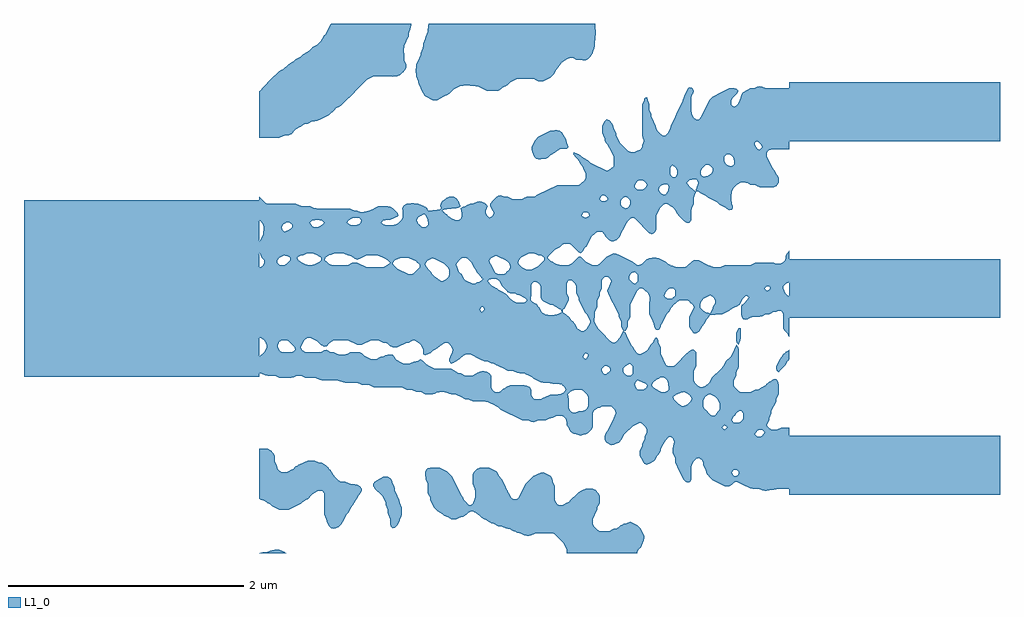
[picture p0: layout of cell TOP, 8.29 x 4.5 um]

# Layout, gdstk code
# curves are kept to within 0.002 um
import gdstk
lib = gdstk.Library(unit=1e-6, precision=1e-09)
def R(c, l, rs):  # rectangles x0, y0, x1, y1
    for r in rs: c.add(gdstk.rectangle(r[:2], r[2:], *l))
def A(c, l, x, y, w, h, nx, ny, dx, dy):  # array of equal rectangles
    R(c, l, [(x+i*dx, y+j*dy, x+i*dx+w, y+j*dy+h) for i in range(nx) for j in range(ny)])
def P(c, l, *ps):  # polygons
    for p in ps: c.add(gdstk.Polygon(p, *l))
L1_0 = (1, 0)

top = lib.new_cell('TOP')
A(top, L1_0, 6672.808, 876.15, 1.79, 0.5, 1, 3, 0, 1.5)
R(top, L1_0, [(6666.308,877.15,6668.308,878.65)])
P(top, L1_0, [(6668.308,875.65),(6668.338,875.658),(6668.359,875.66),(6668.418,875.678),(6668.438,875.679),(6668.478,875.679),(6668.498,875.673),(6668.518,875.663),(6668.535,875.65)],
  [(6669.438,875.865),(6669.424,875.88),(6669.419,875.9),(6669.419,875.94),(6669.401,875.98),(6669.399,876.02),(6669.381,876.06),(6669.379,876.08),(6669.349,876.14),(6669.289,876.2),(6669.274,876.22),(6669.274,876.24),(6669.298,876.269),(6669.358,876.299),(6669.398,876.299),(6669.418,876.289),(6669.427,876.28),(6669.451,876.22),(6669.457,876.2),(6669.458,876.18),(6669.497,876.1),(6669.498,876.08),(6669.517,876.04),(6669.517,875.98),(6669.501,875.94),(6669.497,875.92),(6669.487,875.9),(6669.458,875.867)],
  [(6672.598,876.182),(6672.578,876.186),(6672.538,876.201),(6672.478,876.203),(6672.359,876.26),(6672.338,876.25),(6672.318,876.231),(6672.298,876.221),(6672.258,876.221),(6672.158,876.271),(6672.111,876.32),(6672.101,876.34),(6672.098,876.361),(6672.358,876.361),(6672.338,876.36),(6672.318,876.34),(6672.327,876.32),(6672.338,876.309),(6672.358,876.305),(6672.373,876.32),(6672.378,876.342),(6672.358,876.361),(6672.098,876.361),(6672.079,876.4),(6672.079,876.42),(6672.069,876.44),(6672.058,876.451),(6672.038,876.461),(6672.018,876.452),(6672.006,876.44),(6671.988,876.42),(6671.978,876.4),(6671.977,876.28),(6671.966,876.26),(6671.958,876.253),(6671.938,876.253),(6671.909,876.28),(6671.841,876.42),(6671.839,876.46),(6671.819,876.5),(6671.821,876.56),(6671.833,876.6),(6671.818,876.628),(6671.798,876.641),(6671.778,876.631),(6671.75,876.6),(6671.718,876.54),(6671.715,876.52),(6671.705,876.5),(6671.687,876.48),(6671.667,876.44),(6671.658,876.431),(6671.598,876.402),(6671.578,876.412),(6671.57,876.42),(6671.539,876.48),(6671.539,876.52),(6671.558,876.56),(6671.559,876.58),(6671.579,876.62),(6671.579,876.64),(6671.599,876.68),(6671.599,876.7),(6671.589,876.72),(6671.568,876.741),(6672.258,876.741),(6672.237,876.72),(6672.258,876.7),(6672.558,876.701),(6672.538,876.691),(6672.527,876.68),(6672.517,876.66),(6672.538,876.639),(6672.558,876.639),(6672.578,876.649),(6672.588,876.66),(6672.598,876.681),(6672.578,876.701),(6672.26,876.701),(6672.28,876.72),(6672.258,876.741),(6671.568,876.741),(6671.558,876.751),(6671.538,876.761),(6671.478,876.731),(6671.407,876.66),(6671.387,876.62),(6671.358,876.591),(6671.318,876.573),(6671.298,876.568),(6671.278,876.576),(6671.258,876.591),(6671.249,876.6),(6671.239,876.62),(6671.239,876.64),(6671.245,876.66),(6671.269,876.7),(6671.319,876.8),(6671.334,876.84),(6671.329,876.86),(6671.317,876.88),(6671.298,876.899),(6671.218,876.899),(6671.158,876.871),(6671.147,876.86),(6671.137,876.84),(6671.137,876.72),(6671.127,876.7),(6671.098,876.671),(6671.078,876.661),(6671.038,876.651),(6670.978,876.667),(6670.955,876.68),(6670.938,876.703),(6670.919,876.74),(6670.915,876.78),(6670.905,876.8),(6670.898,876.808),(6670.878,876.82),(6670.838,876.82),(6670.798,876.801),(6670.778,876.8),(6670.738,876.781),(6670.678,876.779),(6670.638,876.765),(6670.598,876.778),(6670.538,876.781),(6670.358,876.871),(6670.338,876.89),(6670.238,876.94),(6670.118,876.941),(6670.078,876.961),(6670.058,876.961),(6669.978,876.999),(6669.918,877.004),(6669.878,877.021),(6669.838,877.021),(6669.818,877.017),(6669.778,877.001),(6669.718,877.001),(6669.678,877.021),(6669.638,877.021),(6669.598,877.041),(6669.558,877.041),(6669.518,877.061),(6669.278,877.061),(6669.238,877.081),(6669.178,877.081),(6669.138,877.101),(6669.018,877.102),(6668.978,877.118),(6668.958,877.121),(6668.818,877.123),(6668.778,877.141),(6668.698,877.141),(6668.658,877.158),(6668.638,877.16),(6668.618,877.156),(6668.578,877.141),(6668.478,877.141),(6668.438,877.161),(6668.358,877.162),(6668.318,877.181),(6668.308,877.181),(6668.308,877.319),(6668.349,877.36),(6668.369,877.4),(6668.372,877.42),(6668.348,877.461),(6668.498,877.461),(6668.478,877.448),(6668.462,877.42),(6668.464,877.4),(6668.475,877.38),(6668.498,877.36),(6668.578,877.359),(6668.598,877.367),(6668.61,877.38),(6668.608,877.4),(6668.558,877.451),(6668.538,877.461),(6668.348,877.461),(6668.338,877.471),(6668.318,877.481),(6668.718,877.481),(6668.698,877.471),(6668.687,877.46),(6668.657,877.4),(6668.667,877.38),(6668.678,877.37),(6668.698,877.36),(6668.818,877.359),(6668.878,877.38),(6668.918,877.359),(6668.938,877.359),(6668.978,877.339),(6669.038,877.339),(6669.078,877.357),(6669.158,877.359),(6669.178,877.349),(6669.198,877.329),(6669.258,877.299),(6669.298,877.299),(6669.338,877.319),(6669.358,877.321),(6669.398,877.339),(6669.418,877.339),(6669.438,877.336),(6669.478,877.289),(6669.538,877.26),(6669.578,877.259),(6669.618,877.279),(6669.638,877.279),(6669.678,877.298),(6669.698,877.283),(6669.72,877.26),(6669.738,877.248),(6669.798,877.219),(6669.938,877.218),(6669.998,877.181),(6670.018,877.179),(6670.058,877.159),(6670.118,877.16),(6670.178,877.195),(6670.198,877.199),(6670.218,877.199),(6670.238,877.194),(6670.258,877.182),(6670.275,877.16),(6670.277,877.06),(6670.287,877.04),(6670.298,877.029),(6670.318,877.019),(6670.338,877.019),(6670.358,877.029),(6670.378,877.049),(6670.438,877.079),(6670.558,877.079),(6670.578,877.075),(6670.605,877.06),(6670.617,877.04),(6670.618,876.998),(6670.624,876.98),(6670.638,876.965),(6670.658,876.959),(6670.678,876.959),(6670.698,876.96),(6670.778,876.999),(6670.838,876.999),(6670.858,877.002),(6670.898,877.022),(6670.909,877.041),(6670.998,877.041),(6670.978,877.037),(6670.945,877.02),(6670.927,877),(6670.936,876.96),(6670.937,876.88),(6670.949,876.86),(6670.958,876.853),(6670.978,876.846),(6671.018,876.858),(6671.058,876.859),(6671.078,876.869),(6671.089,876.88),(6671.099,876.9),(6671.099,876.98),(6671.089,877),(6671.058,877.031),(6671.038,877.041),(6670.909,877.041),(6670.898,877.066),(6670.878,877.082),(6670.838,877.093),(6670.798,877.089),(6670.76,877.1),(6670.698,877.102),(6670.664,877.119),(6671.518,877.119),(6671.498,877.1),(6671.497,877.08),(6671.504,877.06),(6671.518,877.046),(6671.538,877.039),(6671.558,877.039),(6671.578,877.046),(6671.597,877.06),(6671.601,877.08),(6671.598,877.083),(6671.578,877.098),(6671.558,877.102),(6671.518,877.119),(6670.664,877.119),(6670.638,877.132),(6670.624,877.146),(6671.738,877.146),(6671.718,877.145),(6671.673,877.12),(6671.65,877.1),(6671.64,877.08),(6671.658,877.056),(6671.718,877.023),(6671.738,877.019),(6671.918,877.021),(6671.898,877.019),(6671.838,876.995),(6671.824,876.98),(6671.829,876.96),(6671.878,876.911),(6671.898,876.901),(6671.918,876.902),(6671.938,876.912),(6671.969,876.94),(6671.979,876.96),(6671.973,876.98),(6671.952,877.001),(6672.138,877.001),(6672.118,876.999),(6672.098,876.985),(6672.083,876.96),(6672.077,876.94),(6672.078,876.9),(6672.088,876.88),(6672.138,876.829),(6672.158,876.819),(6672.178,876.825),(6672.208,876.861),(6672.398,876.861),(6672.378,876.856),(6672.358,876.839),(6672.329,876.8),(6672.319,876.78),(6672.335,876.76),(6672.378,876.759),(6672.398,876.769),(6672.409,876.78),(6672.419,876.8),(6672.419,876.84),(6672.398,876.861),(6672.208,876.861),(6672.218,876.88),(6672.219,876.92),(6672.198,876.962),(6672.181,876.98),(6672.138,877.001),(6671.952,877.001),(6671.938,877.012),(6671.918,877.021),(6671.761,877.021),(6671.778,877.031),(6671.784,877.04),(6671.779,877.1),(6671.771,877.12),(6671.758,877.133),(6671.738,877.146),(6670.624,877.146),(6670.558,877.179),(6670.498,877.183),(6670.458,877.201),(6670.418,877.201),(6670.358,877.229),(6670.332,877.242),(6671.258,877.242),(6671.238,877.242),(6671.217,877.22),(6671.218,877.197),(6671.227,877.18),(6671.238,877.173),(6671.258,877.177),(6671.286,877.2),(6671.287,877.22),(6671.278,877.231),(6671.258,877.242),(6670.332,877.242),(6670.301,877.259),(6671.458,877.259),(6671.416,877.24),(6671.397,877.22),(6671.397,877.2),(6671.407,877.18),(6671.418,877.169),(6671.438,877.159),(6671.461,877.16),(6671.479,877.18),(6671.477,877.24),(6671.458,877.259),(6670.301,877.259),(6670.238,877.281),(6670.218,877.282),(6670.098,877.341),(6670.058,877.338),(6670.038,877.328),(6669.998,877.293),(6669.938,877.261),(6669.92,877.28),(6669.919,877.3),(6669.943,877.352),(6671.078,877.352),(6671.065,877.34),(6671.057,877.32),(6671.078,877.3),(6671.098,877.319),(6671.099,877.34),(6671.078,877.352),(6669.943,877.352),(6669.949,877.38),(6669.941,877.4),(6669.929,877.42),(6669.918,877.431),(6669.898,877.441),(6669.851,877.42),(6669.818,877.391),(6669.778,877.371),(6669.758,877.351),(6669.718,877.331),(6669.7,877.34),(6669.699,877.38),(6669.678,877.422),(6669.66,877.44),(6669.618,877.46),(6669.578,877.441),(6669.558,877.441),(6669.478,877.401),(6669.438,877.401),(6669.418,877.411),(6669.398,877.43),(6669.378,877.44),(6669.358,877.441),(6669.318,877.461),(6669.258,877.461),(6669.178,877.421),(6669.138,877.421),(6669.058,877.461),(6668.938,877.459),(6668.918,877.449),(6668.878,877.411),(6668.858,877.407),(6668.818,877.431),(6668.798,877.451),(6668.738,877.481),(6668.308,877.481),(6668.308,877.746),(6670.198,877.746),(6670.19,877.74),(6670.178,877.72),(6670.198,877.7),(6670.219,877.72),(6670.209,877.74),(6670.198,877.746),(6668.308,877.746),(6668.308,878.079),(6668.318,878.079),(6668.338,878.094),(6668.349,878.12),(6668.347,878.14),(6668.329,878.16),(6668.319,878.181),(6668.518,878.181),(6668.476,878.16),(6668.457,878.14),(6668.458,878.118),(6668.478,878.099),(6668.518,878.099),(6668.538,878.109),(6668.569,878.14),(6668.568,878.16),(6668.538,878.178),(6668.518,878.181),(6668.319,878.181),(6668.308,878.201),(6668.718,878.201),(6668.678,878.182),(6668.658,878.181),(6668.638,878.17),(6668.628,878.16),(6668.638,878.14),(6668.678,878.115),(6668.718,878.099),(6668.758,878.099),(6668.802,878.12),(6668.831,878.14),(6668.831,878.16),(6668.818,878.171),(6668.758,878.199),(6668.738,878.201),(6668.958,878.201),(6668.918,878.185),(6668.898,878.181),(6668.878,878.171),(6668.865,878.16),(6668.864,878.14),(6668.898,878.11),(6668.918,878.1),(6669.058,878.099),(6669.098,878.119),(6669.138,878.119),(6669.218,878.079),(6669.358,878.079),(6669.399,878.1),(6669.418,878.12),(6669.423,878.12),(6669.418,878.12),(6669.398,878.139),(6669.358,878.161),(6669.518,878.161),(6669.498,878.158),(6669.458,878.138),(6669.438,878.12),(6669.446,878.1),(6669.478,878.069),(6669.578,878.019),(6669.598,878.019),(6669.618,878.029),(6669.669,878.08),(6669.67,878.1),(6669.638,878.131),(6669.582,878.159),(6669.778,878.159),(6669.738,878.138),(6669.72,878.12),(6669.717,878.1),(6669.727,878.08),(6669.765,878.04),(6669.778,878.016),(6669.797,878),(6669.818,877.989),(6669.838,877.971),(6669.858,877.961),(6669.878,877.969),(6669.898,877.984),(6669.914,878),(6669.919,878.02),(6669.919,878.06),(6669.909,878.08),(6669.878,878.111),(6669.778,878.159),(6669.578,878.161),(6670.038,878.161),(6670.018,878.151),(6670.007,878.14),(6669.989,878.12),(6669.979,878.1),(6669.986,878.08),(6670.007,878.04),(6670.027,878.02),(6670.047,877.98),(6670.058,877.969),(6670.118,877.939),(6670.138,877.941),(6670.182,877.96),(6670.198,877.968),(6670.204,877.981),(6670.278,877.981),(6670.258,877.977),(6670.247,877.96),(6670.266,877.94),(6670.298,877.913),(6670.398,877.856),(6670.418,877.838),(6670.438,877.811),(6670.458,877.798),(6670.498,877.779),(6670.558,877.78),(6670.578,877.797),(6670.578,877.804),(6670.561,877.82),(6670.478,877.859),(6670.438,877.861),(6670.418,877.867),(6670.409,877.88),(6670.369,877.92),(6670.35,877.958),(6670.638,877.958),(6670.62,877.94),(6670.617,877.92),(6670.617,877.84),(6670.611,877.82),(6670.613,877.8),(6670.667,877.76),(6670.685,877.74),(6670.707,877.7),(6670.718,877.689),(6670.738,877.679),(6670.758,877.679),(6670.778,877.673),(6670.798,877.673),(6670.818,877.679),(6670.838,877.68),(6670.874,877.7),(6670.871,877.72),(6670.858,877.724),(6670.798,877.761),(6670.778,877.761),(6670.718,877.791),(6670.709,877.8),(6670.699,877.82),(6670.697,877.92),(6670.678,877.945),(6670.658,877.956),(6670.638,877.958),(6670.35,877.958),(6670.338,877.97),(6670.938,877.97),(6670.927,877.96),(6670.917,877.94),(6670.917,877.86),(6670.937,877.82),(6670.937,877.8),(6670.907,877.74),(6670.898,877.73),(6670.882,877.72),(6670.882,877.7),(6670.938,877.657),(6670.967,877.62),(6670.987,877.6),(6671.009,877.56),(6671.038,877.543),(6671.058,877.539),(6671.078,877.549),(6671.089,877.56),(6671.102,877.58),(6671.119,877.62),(6671.089,877.68),(6671.069,877.7),(6671.019,877.8),(6671.019,877.82),(6670.999,877.86),(6670.999,877.92),(6670.989,877.94),(6670.958,877.97),(6670.338,877.97),(6670.318,877.981),(6670.204,877.981),(6670.158,878.034),(6670.144,878.06),(6670.129,878.08),(6670.109,878.12),(6670.078,878.151),(6670.058,878.161),(6669.358,878.161),(6669.319,878.18),(6670.318,878.18),(6670.278,878.16),(6670.258,878.14),(6670.265,878.12),(6670.307,878.04),(6670.318,878.029),(6670.338,878.019),(6670.378,878.019),(6670.398,878.029),(6670.41,878.041),(6671.498,878.041),(6671.478,878.039),(6671.459,878.02),(6671.447,878),(6671.447,877.98),(6671.478,877.949),(6671.498,877.939),(6671.519,877.96),(6671.519,878.02),(6671.498,878.041),(6670.41,878.041),(6670.429,878.06),(6670.439,878.08),(6670.436,878.1),(6670.426,878.12),(6670.418,878.129),(6670.4,878.14),(6670.319,878.18),(6669.218,878.181),(6669.138,878.144),(6669.118,878.151),(6669.098,878.169),(6669.078,878.179),(6669.058,878.182),(6669.018,878.201),(6670.598,878.201),(6670.538,878.171),(6670.509,878.14),(6670.508,878.12),(6670.518,878.096),(6670.536,878.08),(6670.578,878.059),(6670.618,878.059),(6670.678,878.089),(6670.729,878.14),(6670.729,878.16),(6670.718,878.171),(6670.698,878.181),(6670.678,878.181),(6670.638,878.201),(6668.308,878.201),(6668.308,878.299),(6668.339,878.36),(6668.344,878.4),(6668.344,878.42),(6668.339,878.44),(6668.328,878.461),(6668.538,878.461),(6668.518,878.451),(6668.507,878.44),(6668.497,878.42),(6668.501,878.4),(6668.518,878.383),(6668.538,878.389),(6668.578,878.41),(6668.587,878.42),(6668.588,878.44),(6668.578,878.451),(6668.558,878.461),(6668.328,878.461),(6668.308,878.482),(6668.798,878.482),(6668.758,878.481),(6668.736,878.46),(6668.747,878.44),(6668.758,878.43),(6668.778,878.42),(6668.798,878.419),(6668.84,878.44),(6668.859,878.46),(6668.838,878.481),(6668.308,878.482),(6668.308,878.501),(6669.118,878.501),(6669.098,878.495),(6669.068,878.48),(6669.053,878.46),(6669.078,878.44),(6669.098,878.439),(6669.138,878.439),(6669.158,878.448),(6669.17,878.46),(6669.174,878.48),(6669.158,878.496),(6669.138,878.501),(6668.308,878.501),(6668.308,878.679),(6668.358,878.629),(6668.378,878.619),(6668.618,878.619),(6668.658,878.602),(6668.678,878.599),(6668.738,878.599),(6668.778,878.582),(6668.798,878.579),(6669.078,878.579),(6669.118,878.559),(6669.138,878.559),(6669.178,878.546),(6669.218,878.557),(6669.238,878.559),(6669.318,878.599),(6669.398,878.599),(6669.418,878.593),(6669.458,878.563),(6669.481,878.54),(6669.487,878.52),(6669.478,878.511),(6669.458,878.5),(6669.418,878.485),(6669.358,878.478),(6669.344,878.46),(6669.358,878.444),(6669.398,878.437),(6669.458,878.44),(6669.478,878.45),(6669.514,878.48),(6669.525,878.5),(6669.524,878.529),(6669.698,878.529),(6669.658,878.504),(6669.644,878.48),(6669.652,878.46),(6669.678,878.43),(6669.698,878.419),(6669.718,878.419),(6669.738,878.436),(6669.741,878.46),(6669.738,878.483),(6669.718,878.528),(6669.524,878.529),(6669.522,878.58),(6669.531,878.6),(6669.538,878.608),(6669.558,878.619),(6669.598,878.624),(6669.658,878.619),(6669.718,878.593),(6669.734,878.58),(6669.738,878.562),(6669.758,878.561),(6669.838,878.571),(6669.853,878.58),(6669.842,878.6),(6669.847,878.62),(6669.858,878.637),(6669.885,878.66),(6669.918,878.679),(6669.958,878.678),(6669.978,878.667),(6669.986,878.66),(6669.999,878.64),(6670.017,878.6),(6669.998,878.586),(6669.978,878.581),(6669.878,878.572),(6669.859,878.56),(6669.918,878.51),(6669.958,878.487),(6669.978,878.479),(6669.998,878.479),(6670.018,878.492),(6670.024,878.5),(6670.027,878.52),(6670.018,878.58),(6670.038,878.595),(6670.058,878.6),(6670.098,878.619),(6670.118,878.619),(6670.158,878.637),(6670.178,878.639),(6670.198,878.637),(6670.218,878.628),(6670.229,878.62),(6670.245,878.6),(6670.229,878.56),(6670.23,878.54),(6670.241,878.52),(6670.258,878.503),(6670.278,878.508),(6670.29,878.52),(6670.299,878.54),(6670.296,878.546),(6671.078,878.546),(6671.053,878.54),(6671.047,878.52),(6671.058,878.509),(6671.078,878.499),(6671.098,878.509),(6671.109,878.52),(6671.103,878.54),(6671.098,878.544),(6671.078,878.546),(6670.296,878.546),(6670.267,878.6),(6670.268,878.62),(6670.301,878.66),(6670.338,878.689),(6670.358,878.693),(6670.398,878.679),(6670.418,878.679),(6670.458,878.659),(6670.538,878.659),(6670.578,878.679),(6670.638,878.679),(6670.661,878.691),(6671.238,878.691),(6671.218,878.69),(6671.207,878.68),(6671.197,878.66),(6671.218,878.639),(6671.238,878.639),(6671.258,878.648),(6671.268,878.66),(6671.253,878.681),(6671.418,878.681),(6671.398,878.671),(6671.387,878.66),(6671.375,878.64),(6671.376,878.62),(6671.387,878.6),(6671.398,878.589),(6671.418,878.579),(6671.438,878.588),(6671.45,878.6),(6671.459,878.62),(6671.458,878.641),(6671.449,878.66),(6671.438,878.671),(6671.418,878.681),(6671.253,878.681),(6671.238,878.691),(6670.661,878.691),(6670.838,878.779),(6671.018,878.779),(6671.038,878.789),(6671.069,878.821),(6671.538,878.821),(6671.518,878.811),(6671.507,878.8),(6671.497,878.78),(6671.496,878.76),(6671.518,878.739),(6671.558,878.739),(6671.578,878.749),(6671.59,878.76),(6671.598,878.775),(6671.6,878.78),(6671.596,878.787),(6671.758,878.787),(6671.718,878.773),(6671.705,878.76),(6671.698,878.74),(6671.708,878.72),(6671.718,878.71),(6671.738,878.698),(6671.758,878.699),(6671.778,878.72),(6671.786,878.76),(6671.778,878.781),(6671.758,878.787),(6671.596,878.787),(6671.578,878.81),(6671.558,878.82),(6671.538,878.821),(6671.069,878.821),(6671.079,878.84),(6671.078,878.88),(6671.049,878.94),(6671.033,878.96),(6671.023,878.98),(6671.009,879),(6670.973,879.04),(6670.978,879.057),(6670.998,879.05),(6671.038,879.029),(6671.058,879.009),(6671.098,878.989),(6671.118,878.969),(6671.258,878.899),(6671.298,878.922),(6671.316,878.94),(6671.317,878.947),(6671.818,878.947),(6671.806,878.94),(6671.797,878.92),(6671.797,878.88),(6671.801,878.86),(6671.818,878.843),(6671.838,878.843),(6671.854,878.86),(6671.858,878.878),(6671.856,878.9),(6671.846,878.92),(6671.838,878.931),(6671.818,878.947),(6671.317,878.947),(6671.317,878.95),(6672.118,878.95),(6672.098,878.949),(6672.067,878.92),(6672.057,878.9),(6672.057,878.88),(6672.062,878.86),(6672.078,878.85),(6672.118,878.859),(6672.138,878.869),(6672.149,878.88),(6672.159,878.9),(6672.159,878.92),(6672.141,878.94),(6672.118,878.95),(6671.317,878.95),(6671.319,879.02),(6671.308,879.042),(6672.278,879.042),(6672.257,879.02),(6672.257,878.98),(6672.269,878.96),(6672.278,878.952),(6672.298,878.942),(6672.318,878.939),(6672.338,878.953),(6672.342,878.96),(6672.336,879),(6672.326,879.02),(6672.318,879.029),(6672.298,879.041),(6671.308,879.042),(6671.266,879.12),(6671.25,879.14),(6671.24,879.16),(6671.239,879.18),(6671.22,879.22),(6671.219,879.28),(6671.24,879.32),(6671.258,879.338),(6671.278,879.329),(6671.305,879.3),(6671.315,879.28),(6671.317,879.26),(6671.337,879.22),(6671.337,879.2),(6671.367,879.14),(6671.438,879.071),(6671.458,879.061),(6671.498,879.059),(6671.542,879.08),(6671.559,879.1),(6671.56,879.12),(6671.571,879.151),(6672.538,879.151),(6672.517,879.14),(6672.517,879.12),(6672.527,879.1),(6672.538,879.089),(6672.558,879.08),(6672.578,879.1),(6672.571,879.12),(6672.538,879.151),(6671.571,879.151),(6671.572,879.16),(6671.559,879.2),(6671.559,879.44),(6671.56,879.46),(6671.577,879.5),(6671.578,879.51),(6671.585,879.52),(6671.598,879.523),(6671.6,879.52),(6671.615,879.48),(6671.617,879.42),(6671.636,879.38),(6671.637,879.36),(6671.674,879.28),(6671.677,879.26),(6671.687,879.24),(6671.718,879.209),(6671.738,879.199),(6671.758,879.199),(6671.778,879.218),(6671.799,879.26),(6671.802,879.28),(6671.818,879.318),(6671.866,879.42),(6671.898,879.48),(6671.919,879.54),(6671.95,879.6),(6671.958,879.608),(6671.978,879.607),(6671.996,879.58),(6671.991,879.56),(6671.981,879.54),(6671.977,879.52),(6671.977,879.4),(6671.981,879.38),(6671.991,879.36),(6672.018,879.332),(6672.038,879.332),(6672.048,879.34),(6672.061,879.36),(6672.129,879.5),(6672.138,879.509),(6672.158,879.528),(6672.298,879.599),(6672.338,879.601),(6672.358,879.597),(6672.374,879.58),(6672.367,879.56),(6672.327,879.52),(6672.317,879.5),(6672.317,879.46),(6672.338,879.442),(6672.368,879.46),(6672.398,879.52),(6672.399,879.54),(6672.409,879.56),(6672.418,879.569),(6672.478,879.599),(6672.498,879.599),(6672.558,879.619),(6672.618,879.599),(6672.808,879.599),(6672.808,879.081),(6672.638,879.079),(6672.619,879.06),(6672.617,879.02),(6672.667,878.92),(6672.685,878.9),(6672.717,878.84),(6672.717,878.8),(6672.708,878.78),(6672.698,878.77),(6672.678,878.761),(6672.658,878.759),(6672.558,878.761),(6672.519,878.78),(6672.478,878.782),(6672.438,878.801),(6672.398,878.801),(6672.378,878.791),(6672.342,878.76),(6672.32,878.72),(6672.317,878.7),(6672.317,878.64),(6672.329,878.6),(6672.327,878.58),(6672.318,878.571),(6672.298,878.566),(6672.278,878.576),(6672.258,878.591),(6672.218,878.611),(6672.198,878.631),(6672.118,878.671),(6672.098,878.689),(6672.038,878.722),(6672.018,878.725),(6672.013,878.74),(6672.018,878.744),(6672.024,878.76),(6672.035,878.8),(6672.028,878.82),(6672.018,878.828),(6671.998,878.828),(6671.958,878.819),(6671.939,878.8),(6671.948,878.78),(6671.978,878.75),(6672.017,878.72),(6671.999,878.68),(6671.997,878.62),(6671.979,878.58),(6671.977,878.48),(6671.958,878.46),(6671.938,878.46),(6671.918,878.471),(6671.869,878.52),(6671.853,878.54),(6671.842,878.56),(6671.818,878.589),(6671.778,878.614),(6671.758,878.621),(6671.738,878.611),(6671.707,878.58),(6671.677,878.52),(6671.677,878.4),(6671.668,878.38),(6671.658,878.37),(6671.638,878.361),(6671.618,878.371),(6671.498,878.491),(6671.478,878.501),(6671.458,878.492),(6671.428,878.46),(6671.367,878.34),(6671.338,878.311),(6671.318,878.301),(6671.298,878.301),(6671.278,878.311),(6671.249,878.34),(6671.238,878.362),(6671.22,878.38),(6671.178,878.381),(6671.158,878.371),(6671.127,878.34),(6671.087,878.26),(6671.067,878.24),(6671.057,878.22),(6671.038,878.199),(6671.018,878.21),(6670.958,878.271),(6670.938,878.281),(6670.898,878.281),(6670.878,878.271),(6670.858,878.251),(6670.818,878.231),(6670.767,878.18),(6670.757,878.16),(6670.772,878.14),(6670.838,878.105),(6670.858,878.099),(6670.918,878.099),(6670.938,878.1),(6670.958,878.11),(6671.018,878.169),(6671.038,878.169),(6671.078,878.129),(6671.138,878.099),(6671.178,878.099),(6671.198,878.109),(6671.258,878.169),(6671.318,878.199),(6671.338,878.197),(6671.376,878.18),(6671.478,878.129),(6671.498,878.109),(6671.518,878.099),(6671.538,878.1),(6671.558,878.11),(6671.598,878.148),(6671.618,878.158),(6671.678,878.161),(6671.698,878.159),(6671.758,878.129),(6671.778,878.109),(6671.798,878.099),(6671.838,878.083),(6671.858,878.079),(6671.918,878.08),(6671.938,878.09),(6671.978,878.129),(6671.998,878.141),(6672.038,878.139),(6672.118,878.099),(6672.138,878.094),(6672.158,878.084),(6672.178,878.079),(6672.218,878.079),(6672.258,878.098),(6672.478,878.099),(6672.518,878.119),(6672.678,878.119),(6672.718,878.109),(6672.758,878.124),(6672.774,878.14),(6672.78,878.18),(6672.79,878.2),(6672.808,878.219),(6672.808,877.959),(6672.798,877.95),(6672.778,877.94),(6672.757,877.92),(6672.756,877.9),(6672.778,877.857),(6672.795,877.84),(6672.808,877.834),(6672.808,877.489),(6672.789,877.52),(6672.769,877.54),(6672.759,877.56),(6672.759,877.68),(6672.748,877.7),(6672.738,877.709),(6672.718,877.709),(6672.698,877.701),(6672.678,877.701),(6672.638,877.681),(6672.618,877.681),(6672.558,877.661),(6672.498,877.661),(6672.458,877.641),(6672.438,877.635),(6672.418,877.64),(6672.405,877.66),(6672.399,877.68),(6672.399,877.72),(6672.405,877.76),(6672.418,877.768),(6672.449,877.8),(6672.464,877.82),(6672.458,877.831),(6672.438,877.837),(6672.42,877.82),(6672.406,877.8),(6672.386,877.76),(6672.318,877.726),(6672.298,877.711),(6672.238,877.681),(6672.138,877.678),(6672.107,877.64),(6672.087,877.6),(6672.069,877.58),(6672.047,877.54),(6672.038,877.531),(6672.018,877.521),(6671.998,877.522),(6671.98,877.54),(6671.959,877.58),(6671.959,877.66),(6671.999,877.74),(6671.989,877.76),(6671.958,877.79),(6671.939,877.8),(6671.878,877.799),(6671.858,877.789),(6671.808,877.74),(6671.786,877.7),(6671.767,877.68),(6671.706,877.56),(6671.698,877.55),(6671.678,877.551),(6671.661,877.58),(6671.658,877.6),(6671.619,877.68),(6671.619,877.78),(6671.625,877.8),(6671.625,877.82),(6671.619,877.84),(6671.609,877.86),(6671.578,877.891),(6671.558,877.901),(6671.538,877.901),(6671.517,877.88),(6671.457,877.76),(6671.457,877.66),(6671.438,877.621),(6671.437,877.58),(6671.418,877.541),(6671.398,877.542),(6671.381,877.58),(6671.379,877.62),(6671.359,877.66),(6671.359,877.68),(6671.288,877.82),(6671.261,877.88),(6671.271,877.902),(6671.798,877.902),(6671.778,877.891),(6671.767,877.88),(6671.753,877.86),(6671.748,877.84),(6671.758,877.823),(6671.778,877.814),(6671.818,877.819),(6671.839,877.841),(6672.138,877.841),(6672.078,877.811),(6672.067,877.8),(6672.058,877.783),(6672.053,877.76),(6672.053,877.74),(6672.078,877.71),(6672.138,877.685),(6672.142,877.7),(6672.156,877.72),(6672.16,877.74),(6672.179,877.78),(6672.179,877.8),(6672.168,877.82),(6672.158,877.831),(6672.138,877.841),(6671.839,877.841),(6671.84,877.88),(6671.818,877.902),(6671.271,877.902),(6671.278,877.918),(6672.618,877.918),(6672.597,877.9),(6672.617,877.88),(6672.638,877.89),(6672.647,877.9),(6672.638,877.917),(6671.278,877.918),(6671.295,877.96),(6671.289,877.98),(6671.278,877.991),(6671.258,878.001),(6671.238,877.997),(6671.221,877.98),(6671.217,877.96),(6671.216,877.9),(6671.197,877.86),(6671.197,877.84),(6671.177,877.8),(6671.177,877.74),(6671.157,877.7),(6671.157,877.66),(6671.151,877.64),(6671.152,877.62),(6671.172,877.58),(6671.187,877.56),(6671.247,877.5),(6671.258,877.481),(6671.279,877.46),(6671.318,877.439),(6671.338,877.449),(6671.369,877.48),(6671.398,877.538),(6671.418,877.526),(6671.418,877.52),(6671.467,877.42),(6671.483,877.4),(6671.498,877.372),(6671.518,877.349),(6671.538,877.339),(6671.598,877.371),(6671.608,877.38),(6671.629,877.42),(6671.649,877.44),(6671.659,877.46),(6671.675,877.48),(6671.683,877.48),(6671.697,877.46),(6671.697,877.44),(6671.717,877.4),(6671.718,877.34),(6671.758,877.254),(6671.778,877.239),(6671.818,877.239),(6671.838,877.249),(6671.958,877.368),(6671.978,877.378),(6671.998,877.379),(6672.017,877.36),(6672.017,877.24),(6671.997,877.2),(6671.997,877.12),(6672.007,877.1),(6672.027,877.08),(6672.038,877.07),(6672.058,877.06),(6672.078,877.066),(6672.118,877.089),(6672.129,877.1),(6672.149,877.14),(6672.247,877.24),(6672.269,877.28),(6672.309,877.32),(6672.358,877.424),(6672.376,877.4),(6672.377,877.24),(6672.373,877.22),(6672.357,877.18),(6672.357,877.16),(6672.337,877.12),(6672.337,877.08),(6672.347,877.06),(6672.378,877.029),(6672.398,877.019),(6672.478,877.019),(6672.518,877.039),(6672.538,877.039),(6672.558,877.049),(6672.598,877.072),(6672.638,877.107),(6672.678,877.13),(6672.698,877.128),(6672.714,877.1),(6672.717,877.08),(6672.717,877),(6672.697,876.96),(6672.697,876.94),(6672.657,876.86),(6672.657,876.84),(6672.637,876.8),(6672.637,876.78),(6672.617,876.74),(6672.628,876.72),(6672.638,876.711),(6672.658,876.702),(6672.678,876.699),(6672.699,876.7),(6672.738,876.719),(6672.808,876.719),(6672.808,876.201),(6672.738,876.201),(6672.618,876.182)],
  [(6670.698,878.997),(6670.658,879.003),(6670.641,879.02),(6670.625,879.06),(6670.62,879.08),(6670.62,879.1),(6670.649,879.16),(6670.678,879.189),(6670.778,879.239),(6670.818,879.246),(6670.858,879.238),(6670.88,879.22),(6670.904,879.18),(6670.914,879.16),(6670.932,879.1),(6670.918,879.088),(6670.898,879.089),(6670.858,879.081),(6670.838,879.071),(6670.818,879.053),(6670.798,879.043),(6670.778,879.03),(6670.758,879.011),(6670.738,879.001)],
  [(6668.938,875.861),(6668.918,875.864),(6668.901,875.88),(6668.887,875.9),(6668.879,875.92),(6668.876,875.94),(6668.859,875.98),(6668.859,876.16),(6668.838,876.181),(6668.813,876.18),(6668.778,876.166),(6668.758,876.151),(6668.718,876.111),(6668.678,876.09),(6668.658,876.071),(6668.558,876.021),(6668.478,876.021),(6668.418,876.051),(6668.398,876.067),(6668.358,876.091),(6668.318,876.107),(6668.308,876.114),(6668.308,876.54),(6668.378,876.538),(6668.398,876.528),(6668.427,876.5),(6668.437,876.48),(6668.437,876.44),(6668.454,876.4),(6668.457,876.38),(6668.468,876.36),(6668.478,876.35),(6668.498,876.34),(6668.538,876.339),(6668.598,876.37),(6668.618,876.389),(6668.638,876.401),(6668.718,876.437),(6668.778,876.439),(6668.818,876.419),(6668.838,876.419),(6668.869,876.4),(6668.908,876.36),(6668.947,876.3),(6668.978,876.27),(6668.998,876.26),(6669.038,876.258),(6669.078,876.239),(6669.118,876.239),(6669.161,876.22),(6669.178,876.2),(6669.176,876.18),(6669.166,876.16),(6669.148,876.14),(6669.127,876.1),(6669.087,876.04),(6669.067,876),(6669.047,875.98),(6669.005,875.9),(6668.978,875.872),(6668.958,875.862)],
  [(6670.919,875.65),(6670.919,875.68),(6670.889,875.74),(6670.818,875.811),(6670.798,875.821),(6670.657,875.82),(6670.618,875.803),(6670.578,875.801),(6670.558,875.804),(6670.418,875.861),(6670.398,875.862),(6670.358,875.881),(6670.338,875.881),(6670.278,875.908),(6670.198,875.952),(6670.158,875.987),(6670.118,876.006),(6670.098,876.005),(6670.058,875.974),(6670.038,875.963),(6669.978,875.941),(6669.938,875.942),(6669.878,875.971),(6669.858,875.988),(6669.818,876.011),(6669.789,876.04),(6669.759,876.1),(6669.759,876.12),(6669.739,876.16),(6669.737,876.24),(6669.719,876.28),(6669.716,876.34),(6669.725,876.36),(6669.738,876.373),(6669.758,876.379),(6669.838,876.379),(6669.898,876.349),(6669.947,876.3),(6670.049,876.1),(6670.078,876.069),(6670.098,876.057),(6670.118,876.071),(6670.124,876.08),(6670.134,876.1),(6670.139,876.12),(6670.138,876.2),(6670.119,876.24),(6670.119,876.32),(6670.129,876.34),(6670.158,876.369),(6670.178,876.379),(6670.258,876.379),(6670.318,876.349),(6670.327,876.34),(6670.348,876.3),(6670.367,876.28),(6670.438,876.137),(6670.458,876.115),(6670.478,876.111),(6670.504,876.12),(6670.529,876.16),(6670.569,876.24),(6670.638,876.309),(6670.698,876.335),(6670.718,876.339),(6670.778,876.309),(6670.787,876.3),(6670.797,876.28),(6670.799,876.26),(6670.817,876.22),(6670.817,876.1),(6670.827,876.08),(6670.838,876.069),(6670.858,876.059),(6670.878,876.059),(6670.938,876.09),(6671.018,876.168),(6671.078,876.199),(6671.138,876.199),(6671.158,876.189),(6671.187,876.16),(6671.197,876.14),(6671.197,876.08),(6671.179,876.04),(6671.175,876.02),(6671.137,875.94),(6671.137,875.9),(6671.147,875.88),(6671.178,875.849),(6671.198,875.839),(6671.278,875.839),(6671.318,875.859),(6671.338,875.861),(6671.358,875.871),(6671.378,875.889),(6671.398,875.899),(6671.418,875.902),(6671.458,875.919),(6671.518,875.889),(6671.547,875.86),(6671.577,875.8),(6671.577,875.78),(6671.572,875.76),(6671.556,875.72),(6671.546,875.7),(6671.527,875.68),(6671.517,875.66),(6671.517,875.65)],
  [(6668.308,879.181),(6668.308,879.576),(6668.338,879.605),(6668.398,879.672),(6668.458,879.729),(6668.518,879.77),(6668.558,879.806),(6668.598,879.829),(6668.618,879.849),(6668.658,879.869),(6668.678,879.889),(6668.718,879.909),(6668.758,879.948),(6668.798,879.969),(6668.829,880),(6668.85,880.04),(6668.869,880.06),(6668.909,880.14),(6668.919,880.15),(6669.597,880.15),(6669.595,880.12),(6669.582,880.08),(6669.574,880.04),(6669.537,879.96),(6669.535,879.92),(6669.538,879.84),(6669.553,879.8),(6669.553,879.78),(6669.545,879.76),(6669.532,879.74),(6669.498,879.71),(6669.478,879.701),(6669.278,879.701),(6669.218,879.671),(6669.127,879.58),(6669.092,879.54),(6669.058,879.511),(6668.998,879.451),(6668.958,879.43),(6668.898,879.371),(6668.838,879.341),(6668.798,879.325),(6668.758,879.321),(6668.718,879.301),(6668.698,879.301),(6668.678,879.291),(6668.658,879.274),(6668.618,879.251),(6668.578,879.211),(6668.558,879.201),(6668.518,879.198),(6668.478,879.181)],
  [(6672.378,877.423),(6672.361,877.44),(6672.359,877.46),(6672.359,877.52),(6672.367,877.54),(6672.378,877.562),(6672.398,877.561),(6672.398,877.54),(6672.397,877.52),(6672.397,877.48),(6672.393,877.46),(6672.383,877.44)],
  [(6672.718,877.189),(6672.7,877.2),(6672.699,877.24),(6672.729,877.3),(6672.755,877.34),(6672.778,877.361),(6672.808,877.379),(6672.808,877.3),(6672.767,877.24)],
  [(6669.778,879.501),(6669.718,879.531),(6669.698,879.558),(6669.659,879.64),(6669.657,879.66),(6669.639,879.7),(6669.636,879.74),(6669.64,879.8),(6669.676,879.88),(6669.679,879.9),(6669.695,879.94),(6669.701,879.98),(6669.736,880.08),(6669.744,880.15),(6671.162,880.15),(6671.164,880.06),(6671.157,880),(6671.157,879.96),(6671.153,879.94),(6671.137,879.9),(6671.127,879.88),(6671.11,879.86),(6671.098,879.848),(6671.078,879.84),(6671.018,879.841),(6670.998,879.845),(6670.958,879.861),(6670.938,879.857),(6670.918,879.847),(6670.876,879.82),(6670.847,879.78),(6670.827,879.76),(6670.807,879.72),(6670.778,879.691),(6670.718,879.661),(6670.678,879.661),(6670.638,879.68),(6670.498,879.681),(6670.438,879.651),(6670.418,879.631),(6670.378,879.61),(6670.358,879.591),(6670.338,879.581),(6670.238,879.581),(6670.158,879.618),(6670.138,879.621),(6670.078,879.625),(6670.018,879.621),(6669.958,879.591),(6669.918,879.553),(6669.878,879.531),(6669.818,879.501)])

lib.write_gds('TOP.gds')
